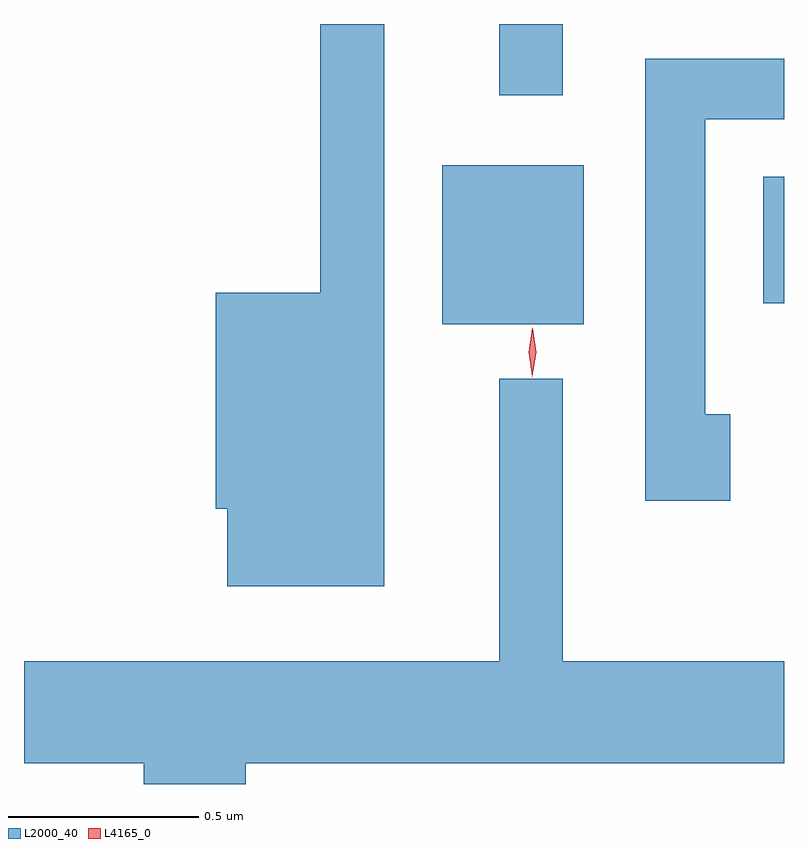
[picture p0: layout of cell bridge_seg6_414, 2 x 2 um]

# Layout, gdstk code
import gdstk
lib = gdstk.Library(unit=1e-6, precision=1e-09)
def R(c, l, rs):  # rectangles x0, y0, x1, y1
    for r in rs: c.add(gdstk.rectangle(r[:2], r[2:], *l))
def P(c, l, *ps):  # polygons
    for p in ps: c.add(gdstk.Polygon(p, *l))
L2000_40 = (2000, 40)
L4165_0 = (4165, 0)

bridge_seg6_414 = lib.new_cell('bridge_seg6_414')
R(bridge_seg6_414, L2000_40, [(975.101,1613.351,975.474,1613.769), (975.946,1613.406,976.001,1613.739), (975.251,1613.953,975.419,1614.141)])
P(bridge_seg6_414, L2000_40, [(974.949,1614.141),(974.781,1614.141),(974.781,1613.434),(974.506,1613.434),(974.506,1612.866),(974.536,1612.866),(974.536,1612.661),(974.949,1612.661)],
  [(975.859,1613.114),(975.794,1613.114),(975.794,1613.891),(976.001,1613.891),(976.001,1614.049),(975.636,1614.049),(975.636,1612.886),(975.859,1612.886)],
  [(974.584,1612.196),(976.001,1612.196),(976.001,1612.464),(975.419,1612.464),(975.419,1613.208),(975.251,1613.208),(975.251,1612.464),(974.001,1612.464),(974.001,1612.196),(974.316,1612.196),(974.316,1612.141),(974.584,1612.141)])
P(bridge_seg6_414, L4165_0, [(975.338,1613.212),(975.338,1613.213),(975.329,1613.277),(975.339,1613.341),(975.339,1613.342),(975.34,1613.341),(975.349,1613.277),(975.339,1613.213)])

lib.write_gds('bridge_seg6_414.gds')
